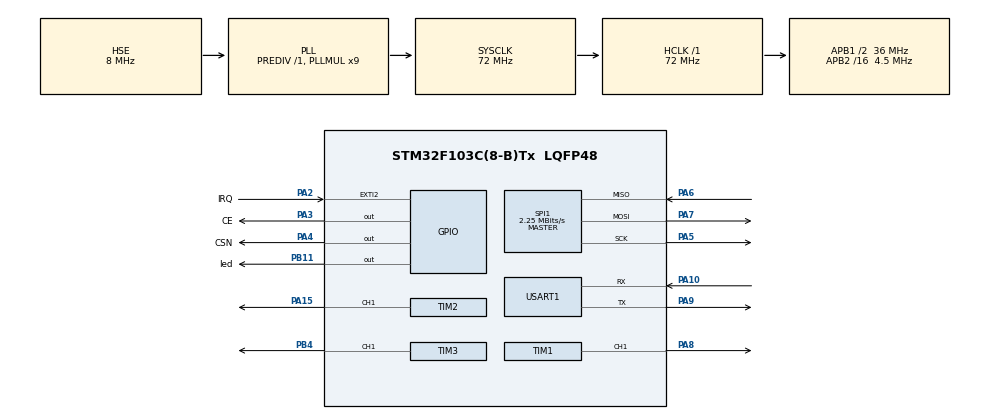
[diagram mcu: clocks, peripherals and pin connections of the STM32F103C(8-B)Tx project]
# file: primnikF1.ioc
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Mcu.Family=STM32F1
Mcu.Name=STM32F103C(8-B)Tx
Mcu.Package=LQFP48
NVIC.PriorityGroup=NVIC_PRIORITYGROUP_4
PA10.Mode=Asynchronous
PA10.Signal=USART1_RX
PA13.Mode=Serial_Wire
PA13.Signal=SYS_JTMS-SWDIO
PA14.Mode=Serial_Wire
PA14.Signal=SYS_JTCK-SWCLK
PA15.Signal=S_TIM2_CH1_ETR
PA2.GPIO_Label=IRQ
PA2.Signal=GPXTI2
PA3.GPIO_Label=CE
PA3.Signal=GPIO_Output
PA4.GPIO_Label=CSN
PA4.Signal=GPIO_Output
PA5.Mode=Full_Duplex_Master
PA5.Signal=SPI1_SCK
PA6.Mode=Full_Duplex_Master
PA6.Signal=SPI1_MISO
PA7.Mode=Full_Duplex_Master
PA7.Signal=SPI1_MOSI
PA8.Signal=S_TIM1_CH1
PA9.Mode=Asynchronous
PA9.Signal=USART1_TX
PB11.GPIO_Label=led
PB11.Signal=GPIO_Output
PB4.Signal=S_TIM3_CH1
PD0-OSC_IN.Mode=HSE-External-Oscillator
PD0-OSC_IN.Signal=RCC_OSC_IN
PD1-OSC_OUT.Mode=HSE-External-Oscillator
PD1-OSC_OUT.Signal=RCC_OSC_OUT
ProjectManager.HeapSize=0x200
ProjectManager.StackSize=0x400
ProjectManager.TargetToolchain=MDK-ARM V5.32
RCC.AHBFreq_Value=72000000
RCC.APB1CLKDivider=RCC_HCLK_DIV2
RCC.APB1Freq_Value=36000000
RCC.APB1TimFreq_Value=72000000
RCC.APB2CLKDivider=RCC_HCLK_DIV16
RCC.APB2Freq_Value=4500000
RCC.APB2TimFreq_Value=9000000
RCC.HCLKFreq_Value=72000000
RCC.PLLMUL=RCC_PLL_MUL9
RCC.PLLSourceVirtual=RCC_PLLSOURCE_HSE
RCC.SYSCLKFreq_VALUE=72000000
RCC.SYSCLKSource=RCC_SYSCLKSOURCE_PLLCLK
RCC.USBFreq_Value=72000000
SH.S_TIM1_CH1.0=TIM1_CH1,PWM Generation1 CH1
SH.S_TIM2_CH1_ETR.0=TIM2_CH1,PWM Generation1 CH1
SH.S_TIM3_CH1.0=TIM3_CH1,PWM Generation1 CH1
SPI1.BaudRatePrescaler=SPI_BAUDRATEPRESCALER_2
SPI1.CalculateBaudRate=2.25 MBits/s
SPI1.DataSize=SPI_DATASIZE_8BIT
SPI1.Direction=SPI_DIRECTION_2LINES
SPI1.Mode=SPI_MODE_MASTER
SPI1.VirtualType=VM_MASTER
TIM1.Channel-PWM\ Generation1\ CH1=TIM_CHANNEL_1
TIM1.Period=1000-1
TIM1.Prescaler=180-1
TIM2.Channel-PWM\ Generation1\ CH1=TIM_CHANNEL_1
TIM2.Period=20000-1
TIM2.Prescaler=72-1
TIM3.Channel-PWM\ Generation1\ CH1=TIM_CHANNEL_1
TIM3.Period=20000-1
TIM3.Prescaler=72-1
USART1.VirtualMode=VM_ASYNC
board=custom

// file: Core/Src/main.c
/* USER CODE BEGIN Header */
/**
  ******************************************************************************
  * @file           : main.c
  * @brief          : Main program body
  ******************************************************************************
  * @attention
  *
  * <h2><center>&copy; Copyright (c) 2019 STMicroelectronics.
  * All rights reserved.</center></h2>
  *
  * This software component is licensed by ST under BSD 3-Clause license,
  * the "License"; You may not use this file except in compliance with the
  * License. You may obtain a copy of the License at:
  *                        opensource.org/licenses/BSD-3-Clause
  *
  ******************************************************************************
  */
/* USER CODE END Header */
#include "main.h"

/* USER CODE BEGIN Includes */
#include "NRF24.h"
/* USER CODE END Includes */

SPI_HandleTypeDef hspi1;

TIM_HandleTypeDef htim1;
TIM_HandleTypeDef htim2;
TIM_HandleTypeDef htim3;

UART_HandleTypeDef huart1;

void SystemClock_Config(void);
static void MX_GPIO_Init(void);
static void MX_SPI1_Init(void);
static void MX_TIM1_Init(void);
static void MX_TIM2_Init(void);
static void MX_TIM3_Init(void);
static void MX_USART1_UART_Init(void);

/* USER CODE BEGIN 0 */
void HAL_GPIO_EXTI_Callback(uint16_t GPIO_Pin)
{
	if(GPIO_Pin	== IRQ_Pin)
	{
		//HAL_UART_Transmit(&huart1, (uint8_t*)"IRQ\n", strlen("IRQ\n"), 1000);
	}
}
/* USER CODE END 0 */

int main(void)
{

  /* MCU Configuration--------------------------------------------------------*/

  /* Reset of all peripherals, Initializes the Flash interface and the Systick. */
  HAL_Init();

  /* Configure the system clock */
  SystemClock_Config();

  /* Initialize all configured peripherals */
  MX_GPIO_Init();
  MX_SPI1_Init();
  MX_TIM1_Init();
  MX_TIM2_Init();
  MX_TIM3_Init();
  MX_USART1_UART_Init();
  /* USER CODE BEGIN 2 */
HAL_TIM_PWM_Start(&htim1, TIM_CHANNEL_1);
HAL_TIM_PWM_Start(&htim2, TIM_CHANNEL_1);
HAL_TIM_PWM_Start(&htim3, TIM_CHANNEL_1);

htim1.Instance->CCR1 = 100;  // Set the maximum pulse (2ms)
HAL_Delay (2000);  // wait for 1 beep
htim1.Instance->CCR1 = 50;   // Set the minimum Pulse (1ms)
HAL_Delay (1000);  // wait for 2 beeps
htim1.Instance->CCR1 = 0;    // reset to 0, so it can be controlled via ADC

  DWT_Init(); // ??????? ??? ?????????????? ????

  //const uint64_t pipe0 = 0x787878787878;
  const uint64_t pipe1 = 0xE8E8F0F0E2LL; // ????? ?????? ?????
  //const uint64_t pipe2 = 0xE8E8F0F0A2LL;
  //const uint64_t pipe3 = 0xE8E8F0F0D1LL;
  //const uint64_t pipe4 = 0xE8E8F0F0C3LL;
  //const uint64_t pipe5 = 0xE8E8F0F0E7LL;

  uint8_t res = isChipConnected(); // ????????? ????????? ?? ?????? ? SPI

  char str[64] = {0,};
  snprintf(str, 64, "Connected: %s\n", 1 ? "OK" : "NOT OK");
  //HAL_UART_Transmit(&huart1, (uint8_t*)str, strlen(str), 1000);

  res = NRF_Init(); // ?????????????

  snprintf(str, 64, "Init: %s\n", res > 0 && res < 255 ? "OK" : "NOT OK");
  //HAL_UART_Transmit(&huart1, (uint8_t*)str, strlen(str), 1000);

  ////////////// SET ////////////////
  enableAckPayload();
  //setAutoAck(false);
  //setPayloadSize(3);
  setChannel(19);
  openReadingPipe(1, pipe1);
  startListening();
  ///////////////////////////////////

  ////////////////////////// ????? ?????? ????????, ??? ?????? ?? ????? /////////////////////////////
  uint8_t status = get_status();
  snprintf(str, 64, "get_status: 0x%02x\n", status);
  //HAL_UART_Transmit(&huart1, (uint8_t*)str, strlen(str), 1000);

  status = getPALevel();
  snprintf(str, 64, "getPALevel: 0x%02x  ", status);
  //HAL_UART_Transmit(&huart1, (uint8_t*)str, strlen(str), 1000);

  if(status == 0x00)
  {
	  //HAL_UART_Transmit(&huart1, (uint8_t*)"RF24_PA_MIN\n", strlen("RF24_PA_MIN\n"), 1000);
  }
  else if(status == 0x01)
  {
	  //HAL_UART_Transmit(&huart1, (uint8_t*)"RF24_PA_LOW\n", strlen("RF24_PA_LOW\n"), 1000);
  }
  else if(status == 0x02)
  {
	  //HAL_UART_Transmit(&huart1, (uint8_t*)"RF24_PA_HIGH\n", strlen("RF24_PA_HIGH\n"), 1000);
  }
  else if(status == 0x03)
  {
	  //HAL_UART_Transmit(&huart1, (uint8_t*)"RF24_PA_MAX\n", strlen("RF24_PA_MAX\n"), 1000);
  }

  status = getChannel();
  snprintf(str, 64, "getChannel: 0x%02x ? %d\n", status, status);
  //HAL_UART_Transmit(&huart1, (uint8_t*)str, strlen(str), 1000);

  status = getDataRate();
  snprintf(str, 64, "getDataRate: 0x%02x  ", status);
  //HAL_UART_Transmit(&huart1, (uint8_t*)str, strlen(str), 1000);

  if(status == 0x02)
  {
	  //HAL_UART_Transmit(&huart1, (uint8_t*)"RF24_250KBPS\n", strlen("RF24_250KBPS\n"), 1000);
  }
  else if(status == 0x01)
  {
	  //HAL_UART_Transmit(&huart1, (uint8_t*)"RF24_2MBPS\n", strlen("RF24_2MBPS\n"), 1000);
  }
  else
  {
	  //HAL_UART_Transmit(&huart1, (uint8_t*)"RF24_1MBPS\n", strlen("RF24_1MBPS\n"), 1000);
  }

  status = getPayloadSize();
  snprintf(str, 64, "getPayloadSize: %d\n", status);
  //HAL_UART_Transmit(&huart1, (uint8_t*)str, strlen(str), 1000);

  status = getCRCLength();
  snprintf(str, 64, "getCRCLength: 0x%02x  ", status);
  //HAL_UART_Transmit(&huart1, (uint8_t*)str, strlen(str), 1000);

  if(status == 0x00)
  {
	  //HAL_UART_Transmit(&huart1, (uint8_t*)"RF24_CRC_DISABLED\n", strlen("RF24_CRC_DISABLED\n"), 1000);
  }
  else if(status == 0x01)
  {
	  //HAL_UART_Transmit(&huart1, (uint8_t*)"RF24_CRC_8\n", strlen("RF24_CRC_8\n"), 1000);
  }
  else if(status == 0x02)
  {
	  //HAL_UART_Transmit(&huart1, (uint8_t*)"RF24_CRC_16\n", strlen("RF24_CRC_16\n"), 1000);
  }
  /////////////////////////////////////////////////////////////////////////////////////////////////////

  maskIRQ(true, true, true); // ????????? ??????????
  /* USER CODE END 2 */

  /* Infinite loop */
  /* USER CODE BEGIN WHILE */
  while (1)
  {

	///////////////////////////////////// ????? /////////////////////////////////////////////
	uint8_t nrf_data[32] = {0,}; // ????? ????????? ????????????? ???????
	static uint8_t remsg = 0;
	uint8_t pipe_num = 0;

	if(available(&pipe_num)) // ????????? ?????? ?? ???-??
	{
		remsg++;

		writeAckPayload(pipe_num, &remsg, sizeof(remsg)); // ?????????? ???????? ???????? ?????? ? ??????????????

		if(pipe_num == 0) // ????????? ? ????? ????? ?????? ??????
		{
			//HAL_UART_Transmit(&huart1, (uint8_t*)"pipe 0\n", strlen("pipe 0\n"), 1000);
		}

		else if(pipe_num == 1)
		{
			//HAL_UART_Transmit(&huart1, (uint8_t*)"pipe 1\n", strlen("pipe 1\n"), 1000);

			uint8_t count = getDynamicPayloadSize(); // ??????? ??????? ???? ?????????

			read(&nrf_data, count); // ?????? ?????? ? ?????? nrf_data ? ????????? ??????? ???? ??????

			htim1.Instance->CCR1=nrf_data[3];  			//motor

			htim2.Instance->CCR1=nrf_data[4]*10;

			htim3.Instance->CCR1=nrf_data[5]*10;

			if(nrf_data[0] == 77 && nrf_data[1] == 86 && nrf_data[2] == 97) // ????????? ???????????? ??????
			{
				HAL_GPIO_TogglePin(led_GPIO_Port, led_Pin);
				snprintf(str, 64, "data[0]=%d data[1]=%d data[2]=%d\n", nrf_data[0], nrf_data[1], nrf_data[2]);
				//HAL_UART_Transmit(&huart1, (uint8_t*)str, strlen(str), 1000);
			}
		}

		else if(pipe_num == 2)
		{
			//HAL_UART_Transmit(&huart1, (uint8_t*)"pipe 2\n", strlen("pipe 2\n"), 1000);
		}

		else
		{
			while(availableMy()) // ???? ?????? ?????? ?? ??????????? ?????, ?? ??????? ????
			{
				read(&nrf_data, sizeof(nrf_data));
				//HAL_UART_Transmit(&huart1, (uint8_t*)"Unknown pipe\n", strlen("Unknown pipe\n"), 1000);
			}
		}
	}
    /* USER CODE END WHILE */

  }
}

void SystemClock_Config(void)
{
  RCC_OscInitTypeDef RCC_OscInitStruct = {0};
  RCC_ClkInitTypeDef RCC_ClkInitStruct = {0};

  /** Initializes the RCC Oscillators according to the specified parameters
  * in the RCC_OscInitTypeDef structure.
  */
  RCC_OscInitStruct.OscillatorType = RCC_OSCILLATORTYPE_HSE;
  RCC_OscInitStruct.HSEState = RCC_HSE_ON;
  RCC_OscInitStruct.HSEPredivValue = RCC_HSE_PREDIV_DIV1;
  RCC_OscInitStruct.HSIState = RCC_HSI_ON;
  RCC_OscInitStruct.PLL.PLLState = RCC_PLL_ON;
  RCC_OscInitStruct.PLL.PLLSource = RCC_PLLSOURCE_HSE;
  RCC_OscInitStruct.PLL.PLLMUL = RCC_PLL_MUL9;
  if (HAL_RCC_OscConfig(&RCC_OscInitStruct) != HAL_OK)
  {
    Error_Handler();
  }

  /** Initializes the CPU, AHB and APB buses clocks
  */
  RCC_ClkInitStruct.ClockType = RCC_CLOCKTYPE_HCLK|RCC_CLOCKTYPE_SYSCLK
                              |RCC_CLOCKTYPE_PCLK1|RCC_CLOCKTYPE_PCLK2;
  RCC_ClkInitStruct.SYSCLKSource = RCC_SYSCLKSOURCE_PLLCLK;
  RCC_ClkInitStruct.AHBCLKDivider = RCC_SYSCLK_DIV1;
  RCC_ClkInitStruct.APB1CLKDivider = RCC_HCLK_DIV2;
  RCC_ClkInitStruct.APB2CLKDivider = RCC_HCLK_DIV16;

  if (HAL_RCC_ClockConfig(&RCC_ClkInitStruct, FLASH_LATENCY_2) != HAL_OK)
  {
    Error_Handler();
  }
}

static void MX_SPI1_Init(void)
{

  /* SPI1 parameter configuration*/
  hspi1.Instance = SPI1;
  hspi1.Init.Mode = SPI_MODE_MASTER;
  hspi1.Init.Direction = SPI_DIRECTION_2LINES;
  hspi1.Init.DataSize = SPI_DATASIZE_8BIT;
  hspi1.Init.CLKPolarity = SPI_POLARITY_LOW;
  hspi1.Init.CLKPhase = SPI_PHASE_1EDGE;
  hspi1.Init.NSS = SPI_NSS_SOFT;
  hspi1.Init.BaudRatePrescaler = SPI_BAUDRATEPRESCALER_2;
  hspi1.Init.FirstBit = SPI_FIRSTBIT_MSB;
  hspi1.Init.TIMode = SPI_TIMODE_DISABLE;
  hspi1.Init.CRCCalculation = SPI_CRCCALCULATION_DISABLE;
  hspi1.Init.CRCPolynomial = 10;
  if (HAL_SPI_Init(&hspi1) != HAL_OK)
  {
    Error_Handler();
  }

}

static void MX_TIM1_Init(void)
{

  TIM_MasterConfigTypeDef sMasterConfig = {0};
  TIM_OC_InitTypeDef sConfigOC = {0};
  TIM_BreakDeadTimeConfigTypeDef sBreakDeadTimeConfig = {0};

  htim1.Instance = TIM1;
  htim1.Init.Prescaler = 180-1;
  htim1.Init.CounterMode = TIM_COUNTERMODE_UP;
  htim1.Init.Period = 1000-1;
  htim1.Init.ClockDivision = TIM_CLOCKDIVISION_DIV1;
  htim1.Init.RepetitionCounter = 0;
  htim1.Init.AutoReloadPreload = TIM_AUTORELOAD_PRELOAD_DISABLE;
  if (HAL_TIM_PWM_Init(&htim1) != HAL_OK)
  {
    Error_Handler();
  }
  sMasterConfig.MasterOutputTrigger = TIM_TRGO_RESET;
  sMasterConfig.MasterSlaveMode = TIM_MASTERSLAVEMODE_DISABLE;
  if (HAL_TIMEx_MasterConfigSynchronization(&htim1, &sMasterConfig) != HAL_OK)
  {
    Error_Handler();
  }
  sConfigOC.OCMode = TIM_OCMODE_PWM1;
  sConfigOC.Pulse = 0;
  sConfigOC.OCPolarity = TIM_OCPOLARITY_HIGH;
  sConfigOC.OCNPolarity = TIM_OCNPOLARITY_HIGH;
  sConfigOC.OCFastMode = TIM_OCFAST_DISABLE;
  sConfigOC.OCIdleState = TIM_OCIDLESTATE_RESET;
  sConfigOC.OCNIdleState = TIM_OCNIDLESTATE_RESET;
  if (HAL_TIM_PWM_ConfigChannel(&htim1, &sConfigOC, TIM_CHANNEL_1) != HAL_OK)
  {
    Error_Handler();
  }
  sBreakDeadTimeConfig.OffStateRunMode = TIM_OSSR_DISABLE;
  sBreakDeadTimeConfig.OffStateIDLEMode = TIM_OSSI_DISABLE;
  sBreakDeadTimeConfig.LockLevel = TIM_LOCKLEVEL_OFF;
  sBreakDeadTimeConfig.DeadTime = 0;
  sBreakDeadTimeConfig.BreakState = TIM_BREAK_DISABLE;
  sBreakDeadTimeConfig.BreakPolarity = TIM_BREAKPOLARITY_HIGH;
  sBreakDeadTimeConfig.AutomaticOutput = TIM_AUTOMATICOUTPUT_DISABLE;
  if (HAL_TIMEx_ConfigBreakDeadTime(&htim1, &sBreakDeadTimeConfig) != HAL_OK)
  {
    Error_Handler();
  }
  HAL_TIM_MspPostInit(&htim1);

}

static void MX_TIM2_Init(void)
{

  TIM_MasterConfigTypeDef sMasterConfig = {0};
  TIM_OC_InitTypeDef sConfigOC = {0};

  htim2.Instance = TIM2;
  htim2.Init.Prescaler = 72-1;
  htim2.Init.CounterMode = TIM_COUNTERMODE_UP;
  htim2.Init.Period = 20000-1;
  htim2.Init.ClockDivision = TIM_CLOCKDIVISION_DIV1;
  htim2.Init.AutoReloadPreload = TIM_AUTORELOAD_PRELOAD_DISABLE;
  if (HAL_TIM_PWM_Init(&htim2) != HAL_OK)
  {
    Error_Handler();
  }
  sMasterConfig.MasterOutputTrigger = TIM_TRGO_RESET;
  sMasterConfig.MasterSlaveMode = TIM_MASTERSLAVEMODE_DISABLE;
  if (HAL_TIMEx_MasterConfigSynchronization(&htim2, &sMasterConfig) != HAL_OK)
  {
    Error_Handler();
  }
  sConfigOC.OCMode = TIM_OCMODE_PWM1;
  sConfigOC.Pulse = 0;
  sConfigOC.OCPolarity = TIM_OCPOLARITY_HIGH;
  sConfigOC.OCFastMode = TIM_OCFAST_DISABLE;
  if (HAL_TIM_PWM_ConfigChannel(&htim2, &sConfigOC, TIM_CHANNEL_1) != HAL_OK)
  {
    Error_Handler();
  }
  HAL_TIM_MspPostInit(&htim2);

}

static void MX_TIM3_Init(void)
{

  TIM_MasterConfigTypeDef sMasterConfig = {0};
  TIM_OC_InitTypeDef sConfigOC = {0};

  htim3.Instance = TIM3;
  htim3.Init.Prescaler = 72-1;
  htim3.Init.CounterMode = TIM_COUNTERMODE_UP;
  htim3.Init.Period = 20000-1;
  htim3.Init.ClockDivision = TIM_CLOCKDIVISION_DIV1;
  htim3.Init.AutoReloadPreload = TIM_AUTORELOAD_PRELOAD_DISABLE;
  if (HAL_TIM_PWM_Init(&htim3) != HAL_OK)
  {
    Error_Handler();
  }
  sMasterConfig.MasterOutputTrigger = TIM_TRGO_RESET;
  sMasterConfig.MasterSlaveMode = TIM_MASTERSLAVEMODE_DISABLE;
  if (HAL_TIMEx_MasterConfigSynchronization(&htim3, &sMasterConfig) != HAL_OK)
  {
    Error_Handler();
  }
  sConfigOC.OCMode = TIM_OCMODE_PWM1;
  sConfigOC.Pulse = 0;
  sConfigOC.OCPolarity = TIM_OCPOLARITY_HIGH;
  sConfigOC.OCFastMode = TIM_OCFAST_DISABLE;
  if (HAL_TIM_PWM_ConfigChannel(&htim3, &sConfigOC, TIM_CHANNEL_1) != HAL_OK)
  {
    Error_Handler();
  }
  HAL_TIM_MspPostInit(&htim3);

}

static void MX_USART1_UART_Init(void)
{

  huart1.Instance = USART1;
  huart1.Init.BaudRate = 115200;
  huart1.Init.WordLength = UART_WORDLENGTH_8B;
  huart1.Init.StopBits = UART_STOPBITS_1;
  huart1.Init.Parity = UART_PARITY_NONE;
  huart1.Init.Mode = UART_MODE_TX_RX;
  huart1.Init.HwFlowCtl = UART_HWCONTROL_NONE;
  huart1.Init.OverSampling = UART_OVERSAMPLING_16;
  if (HAL_UART_Init(&huart1) != HAL_OK)
  {
    Error_Handler();
  }

}

static void MX_GPIO_Init(void)
{
  GPIO_InitTypeDef GPIO_InitStruct = {0};

  /* GPIO Ports Clock Enable */
  __HAL_RCC_GPIOD_CLK_ENABLE();
  __HAL_RCC_GPIOA_CLK_ENABLE();
  __HAL_RCC_GPIOB_CLK_ENABLE();

  /*Configure GPIO pin Output Level */
  HAL_GPIO_WritePin(GPIOA, CE_Pin|CSN_Pin, GPIO_PIN_RESET);

  /*Configure GPIO pin Output Level */
  HAL_GPIO_WritePin(led_GPIO_Port, led_Pin, GPIO_PIN_RESET);

  /*Configure GPIO pin : IRQ_Pin */
  GPIO_InitStruct.Pin = IRQ_Pin;
  GPIO_InitStruct.Mode = GPIO_MODE_IT_RISING;
  GPIO_InitStruct.Pull = GPIO_NOPULL;
  HAL_GPIO_Init(IRQ_GPIO_Port, &GPIO_InitStruct);

  /*Configure GPIO pins : CE_Pin CSN_Pin */
  GPIO_InitStruct.Pin = CE_Pin|CSN_Pin;
  GPIO_InitStruct.Mode = GPIO_MODE_OUTPUT_PP;
  GPIO_InitStruct.Pull = GPIO_NOPULL;
  GPIO_InitStruct.Speed = GPIO_SPEED_FREQ_LOW;
  HAL_GPIO_Init(GPIOA, &GPIO_InitStruct);

  /*Configure GPIO pin : led_Pin */
  GPIO_InitStruct.Pin = led_Pin;
  GPIO_InitStruct.Mode = GPIO_MODE_OUTPUT_PP;
  GPIO_InitStruct.Pull = GPIO_NOPULL;
  GPIO_InitStruct.Speed = GPIO_SPEED_FREQ_LOW;
  HAL_GPIO_Init(led_GPIO_Port, &GPIO_InitStruct);

}

void Error_Handler(void)
{
}
